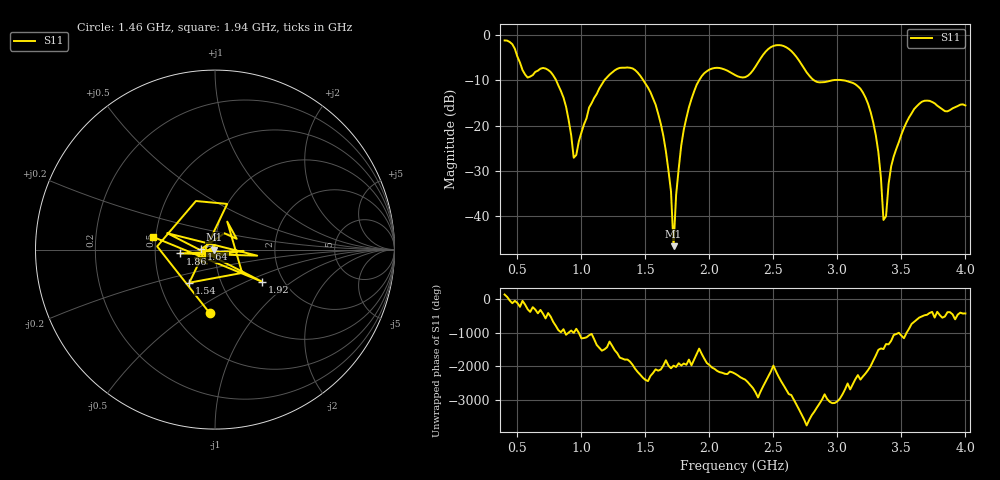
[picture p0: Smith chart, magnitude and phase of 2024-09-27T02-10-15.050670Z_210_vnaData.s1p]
!Created with skrf (http://scikit-rf.org).
# Hz S RI R 50.0
!freq ReS11 ImS11
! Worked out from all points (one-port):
!   181 points, 400 MHz to 4 GHz, reference 50 ohm
!   lowest |S11| = -46.6 dB at 1.72 GHz (marker M1), VSWR 1.01, Z = 49.5 + j0.0324 ohm
!   |S11| at or under -10 dB: 802.6 MHz to 1.179 GHz (376.4 MHz wide, 38 % of centre); 1.484 GHz to 1.92 GHz (435.7 MHz wide, 25.6 % of centre); 3.044 GHz to end of sweep (the widest 3 of 4)
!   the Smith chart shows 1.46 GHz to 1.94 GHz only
!   S11 on the Smith chart (normalised r, x): 1.46 GHz: 0.74, -0.60; 1.54 GHz: 0.71, -0.28; 1.64 GHz: 0.86, +0.01; 1.86 GHz: 0.67, -0.03; 1.92 GHz: 1.56, -0.62; 1.94 GHz: 0.48, +0.08
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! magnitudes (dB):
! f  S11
! 400 MHz  -1.2
! 580 MHz  -9.4
! 740 MHz  -7.7
! 860 MHz  -13.8
! 940 MHz  -27.1
! 1.06 GHz  -16.0
! 1.3 GHz  -7.3
! 1.46 GHz  -9.0
! 1.54 GHz  -12.6
! 1.64 GHz  -22.2
! 1.7 GHz  -34.5
! 1.72 GHz  -46.6
! 1.76 GHz  -29.5
! 1.86 GHz  -14.1
! 1.92 GHz  -10.0
! 1.94 GHz  -9.1
! 2.2 GHz  -8.8
! 2.5 GHz  -2.4
! 2.66 GHz  -4.1
! 2.84 GHz  -10.4
! 3.1 GHz  -10.4
! 3.28 GHz  -19.3
! 3.32 GHz  -25.8
! 3.36 GHz  -40.8
! 3.38 GHz  -40.0
! 3.42 GHz  -29.0
! 3.56 GHz  -18.2
! 4 GHz  -15.5
